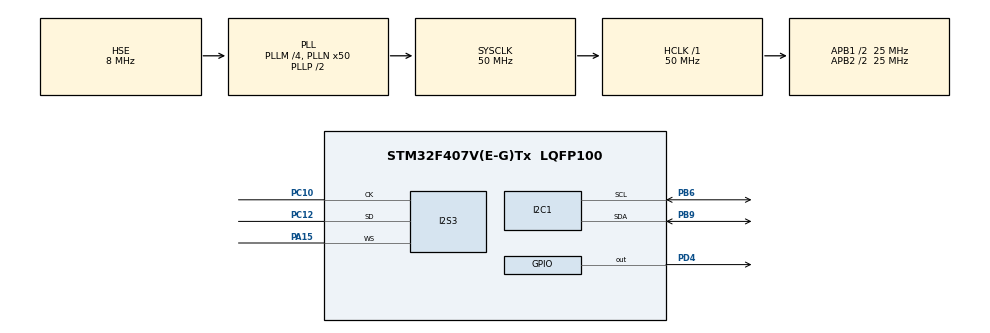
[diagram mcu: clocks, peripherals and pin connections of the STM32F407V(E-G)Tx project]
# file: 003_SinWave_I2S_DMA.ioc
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Dma.Request0=SPI3_TX
Dma.SPI3_TX.0.Direction=DMA_MEMORY_TO_PERIPH
Dma.SPI3_TX.0.FIFOMode=DMA_FIFOMODE_DISABLE
Dma.SPI3_TX.0.Instance=DMA1_Stream5
Dma.SPI3_TX.0.MemDataAlignment=DMA_MDATAALIGN_BYTE
Dma.SPI3_TX.0.MemInc=DMA_MINC_ENABLE
Dma.SPI3_TX.0.Mode=DMA_NORMAL
Dma.SPI3_TX.0.PeriphDataAlignment=DMA_PDATAALIGN_BYTE
Dma.SPI3_TX.0.PeriphInc=DMA_PINC_DISABLE
Dma.SPI3_TX.0.Priority=DMA_PRIORITY_LOW
I2C1.I2C_Mode=I2C_Fast
I2S3.AudioFreq=I2S_AUDIOFREQ_96K
I2S3.ErrorAudioFreq=0.8 %
I2S3.FullDuplexMode=I2S_FULLDUPLEXMODE_DISABLE
I2S3.Instance=SPI$Index
I2S3.RealAudioFreq=96.774 KHz
I2S3.VirtualMode=I2S_MODE_MASTER
Mcu.Family=STM32F4
Mcu.Name=STM32F407V(E-G)Tx
Mcu.Package=LQFP100
NVIC.DMA1_Stream5_IRQn=true\:0\:0\:false\:false\:true\:false\:true\:true
NVIC.PriorityGroup=NVIC_PRIORITYGROUP_0
PA13.Mode=Serial_Wire
PA13.Signal=SYS_JTMS-SWDIO
PA14.Mode=Serial_Wire
PA14.Signal=SYS_JTCK-SWCLK
PA15.Mode=Half_Duplex_Master
PA15.Signal=I2S3_WS
PB6.Mode=I2C
PB6.Signal=I2C1_SCL
PB9.Mode=I2C
PB9.Signal=I2C1_SDA
PC10.Mode=Half_Duplex_Master
PC10.Signal=I2S3_CK
PC12.Mode=Half_Duplex_Master
PC12.Signal=I2S3_SD
PC14-OSC32_IN.Mode=LSE-External-Oscillator
PC14-OSC32_IN.Signal=RCC_OSC32_IN
PC15-OSC32_OUT.Mode=LSE-External-Oscillator
PC15-OSC32_OUT.Signal=RCC_OSC32_OUT
PD4.Signal=GPIO_Output
PH0-OSC_IN.Mode=HSE-External-Oscillator
PH0-OSC_IN.Signal=RCC_OSC_IN
PH1-OSC_OUT.Mode=HSE-External-Oscillator
PH1-OSC_OUT.Signal=RCC_OSC_OUT
ProjectManager.HeapSize=0x200
ProjectManager.StackSize=0x400
ProjectManager.TargetToolchain=STM32CubeIDE
RCC.48MHZClocksFreq_Value=14285714.285714285
RCC.AHBFreq_Value=50000000
RCC.APB1CLKDivider=RCC_HCLK_DIV2
RCC.APB1Freq_Value=25000000
RCC.APB1TimFreq_Value=50000000
RCC.APB2CLKDivider=RCC_HCLK_DIV2
RCC.APB2Freq_Value=25000000
RCC.APB2TimFreq_Value=50000000
RCC.CortexFreq_Value=50000000
RCC.HCLKFreq_Value=50000000
RCC.HSE_VALUE=8000000
RCC.HSI_VALUE=16000000
RCC.PLLI2SN=96
RCC.PLLM=4
RCC.PLLN=50
RCC.PLLQ=7
RCC.PLLSourceVirtual=RCC_PLLSOURCE_HSE
RCC.SYSCLKFreq_VALUE=50000000
RCC.SYSCLKSource=RCC_SYSCLKSOURCE_PLLCLK
RCC.VCOOutputFreq_Value=100000000
board=STM32F407G-DISC1

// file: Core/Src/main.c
/* USER CODE BEGIN Header */
/**
  ******************************************************************************
  * @file           : main.c
  * @brief          : Main program body
  ******************************************************************************
  * @attention
  *
  * Copyright (c) 2025 STMicroelectronics.
  * All rights reserved.
  *
  * This software is licensed under terms that can be found in the LICENSE file
  * in the root directory of this software component.
  * If no LICENSE file comes with this software, it is provided AS-IS.
  *
  ******************************************************************************
  */
/* USER CODE END Header */
#include "main.h"

/* USER CODE BEGIN Includes */
#include "arm_math.h"
#include "math.h"

/* USER CODE END Includes */

/* USER CODE BEGIN PD */
#define TAU 6.28318530717958647692
#define I2S_DMA_BUFFER_SAMPLES 96
#define I2S_DMA_BUFFER_SIZE 2 * 2 * I2S_DMA_BUFFER_SAMPLES // 2 full buffers L+R samples
#define SAMPLE_FREQ 96000
#define OUTPUT_MID 32767 // 2^16 / 2 - 1

#define CS_RST_Pin GPIO_PIN_4
#define CS_RST_GPIO_Port GPIOD
/* USER CODE END PD */

I2C_HandleTypeDef hi2c1;

I2S_HandleTypeDef hi2s3;
DMA_HandleTypeDef hdma_spi3_tx;

/* USER CODE BEGIN PV */
CS43L22_HandleTypeDef cs;

int16_t i2s_dma_buffer[I2S_DMA_BUFFER_SIZE];

float angle[2] = { 0, 0 };

float angle_change[2] = {
        440.0 * (TAU / SAMPLE_FREQ), // left
        880.0 * (TAU / SAMPLE_FREQ)  // right
};

float amplification[2] = {1,1};

uint8_t dma_buffer_processing = 0;
uint32_t dma_overflow = 0;

uint32_t i2c_cb, i2c_hcb;
/* USER CODE END PV */

void SystemClock_Config(void);
static void MX_GPIO_Init(void);
static void MX_DMA_Init(void);
static void MX_I2C1_Init(void);
static void MX_I2S3_Init(void);
/* USER CODE BEGIN PFP */
void process_buffer(int16_t *buffer);
void HAL_I2S_TxCpltCallback(I2S_HandleTypeDef *hi2s);
void HAL_I2S_TxHalfCpltCallback(I2S_HandleTypeDef *hi2s);
/* USER CODE END PFP */

int main(void)
{

  /* MCU Configuration--------------------------------------------------------*/

  /* Reset of all peripherals, Initializes the Flash interface and the Systick. */
  HAL_Init();

  /* Configure the system clock */
  SystemClock_Config();

  /* Initialize all configured peripherals */
  MX_GPIO_Init();
  MX_DMA_Init();
  MX_I2C1_Init();
  MX_I2S3_Init();
  /* USER CODE BEGIN 2 */
  if (cs_init(&cs, &hi2c1, CS43L22_DEFAULT_ADDR, CS_RST_GPIO_Port, CS_RST_Pin)) {
	  printf("Error: cs_init failed\n");
  }

  cs_hp_vol(&cs, 255);

  HAL_I2S_Transmit_DMA(&hi2s3, (uint16_t*) &i2s_dma_buffer, I2S_DMA_BUFFER_SIZE);
  /* USER CODE END 2 */

  /* Infinite loop */
  while (1)
  {

  }
}

void SystemClock_Config(void)
{
  RCC_OscInitTypeDef RCC_OscInitStruct = {0};
  RCC_ClkInitTypeDef RCC_ClkInitStruct = {0};

  /** Configure the main internal regulator output voltage
  */
  __HAL_RCC_PWR_CLK_ENABLE();
  __HAL_PWR_VOLTAGESCALING_CONFIG(PWR_REGULATOR_VOLTAGE_SCALE1);

  /** Initializes the RCC Oscillators according to the specified parameters
  * in the RCC_OscInitTypeDef structure.
  */
  RCC_OscInitStruct.OscillatorType = RCC_OSCILLATORTYPE_HSE;
  RCC_OscInitStruct.HSEState = RCC_HSE_ON;
  RCC_OscInitStruct.PLL.PLLState = RCC_PLL_ON;
  RCC_OscInitStruct.PLL.PLLSource = RCC_PLLSOURCE_HSE;
  RCC_OscInitStruct.PLL.PLLM = 4;
  RCC_OscInitStruct.PLL.PLLN = 50;
  RCC_OscInitStruct.PLL.PLLP = RCC_PLLP_DIV2;
  RCC_OscInitStruct.PLL.PLLQ = 7;
  if (HAL_RCC_OscConfig(&RCC_OscInitStruct) != HAL_OK)
  {
    Error_Handler();
  }

  /** Initializes the CPU, AHB and APB buses clocks
  */
  RCC_ClkInitStruct.ClockType = RCC_CLOCKTYPE_HCLK|RCC_CLOCKTYPE_SYSCLK
                              |RCC_CLOCKTYPE_PCLK1|RCC_CLOCKTYPE_PCLK2;
  RCC_ClkInitStruct.SYSCLKSource = RCC_SYSCLKSOURCE_PLLCLK;
  RCC_ClkInitStruct.AHBCLKDivider = RCC_SYSCLK_DIV1;
  RCC_ClkInitStruct.APB1CLKDivider = RCC_HCLK_DIV2;
  RCC_ClkInitStruct.APB2CLKDivider = RCC_HCLK_DIV2;

  if (HAL_RCC_ClockConfig(&RCC_ClkInitStruct, FLASH_LATENCY_1) != HAL_OK)
  {
    Error_Handler();
  }
}

static void MX_I2C1_Init(void)
{

  hi2c1.Instance = I2C1;
  hi2c1.Init.ClockSpeed = 400000;
  hi2c1.Init.DutyCycle = I2C_DUTYCYCLE_2;
  hi2c1.Init.OwnAddress1 = 0;
  hi2c1.Init.AddressingMode = I2C_ADDRESSINGMODE_7BIT;
  hi2c1.Init.DualAddressMode = I2C_DUALADDRESS_DISABLE;
  hi2c1.Init.OwnAddress2 = 0;
  hi2c1.Init.GeneralCallMode = I2C_GENERALCALL_DISABLE;
  hi2c1.Init.NoStretchMode = I2C_NOSTRETCH_DISABLE;
  if (HAL_I2C_Init(&hi2c1) != HAL_OK)
  {
    Error_Handler();
  }

}

static void MX_I2S3_Init(void)
{

  hi2s3.Instance = SPI3;
  hi2s3.Init.Mode = I2S_MODE_MASTER_TX;
  hi2s3.Init.Standard = I2S_STANDARD_PHILIPS;
  hi2s3.Init.DataFormat = I2S_DATAFORMAT_16B;
  hi2s3.Init.MCLKOutput = I2S_MCLKOUTPUT_DISABLE;
  hi2s3.Init.AudioFreq = I2S_AUDIOFREQ_96K;
  hi2s3.Init.CPOL = I2S_CPOL_LOW;
  hi2s3.Init.ClockSource = I2S_CLOCK_PLL;
  hi2s3.Init.FullDuplexMode = I2S_FULLDUPLEXMODE_DISABLE;
  if (HAL_I2S_Init(&hi2s3) != HAL_OK)
  {
    Error_Handler();
  }

}

static void MX_DMA_Init(void)
{

  /* DMA controller clock enable */
  __HAL_RCC_DMA1_CLK_ENABLE();

  /* DMA interrupt init */
  /* DMA1_Stream5_IRQn interrupt configuration */
  HAL_NVIC_SetPriority(DMA1_Stream5_IRQn, 0, 0);
  HAL_NVIC_EnableIRQ(DMA1_Stream5_IRQn);

}

static void MX_GPIO_Init(void)
{
  GPIO_InitTypeDef GPIO_InitStruct = {0};

  /* GPIO Ports Clock Enable */
  __HAL_RCC_GPIOC_CLK_ENABLE();
  __HAL_RCC_GPIOH_CLK_ENABLE();
  __HAL_RCC_GPIOA_CLK_ENABLE();
  __HAL_RCC_GPIOD_CLK_ENABLE();
  __HAL_RCC_GPIOB_CLK_ENABLE();

  /*Configure GPIO pin Output Level */
  HAL_GPIO_WritePin(GPIOD, GPIO_PIN_4, GPIO_PIN_RESET);

  /*Configure GPIO pin : PD4 */
  GPIO_InitStruct.Pin = GPIO_PIN_4;
  GPIO_InitStruct.Mode = GPIO_MODE_OUTPUT_PP;
  GPIO_InitStruct.Pull = GPIO_NOPULL;
  GPIO_InitStruct.Speed = GPIO_SPEED_FREQ_LOW;
  HAL_GPIO_Init(GPIOD, &GPIO_InitStruct);

}

/* USER CODE BEGIN 4 */
void HAL_I2S_TxCpltCallback(I2S_HandleTypeDef *hi2s) {
    if (dma_buffer_processing) {
        ++dma_overflow; // Still processing previous buffer
    } else {
        process_buffer(&i2s_dma_buffer[2 * I2S_DMA_BUFFER_SAMPLES]); // Second half
        ++i2c_cb;
    }
}

void HAL_I2S_TxHalfCpltCallback(I2S_HandleTypeDef *hi2s) {
    if (dma_buffer_processing) {
        ++dma_overflow; // Still processing previous buffer
    } else {
        process_buffer(&i2s_dma_buffer[0]);
        ++i2c_hcb;
    }
}

void process_buffer(int16_t *buffer) {

    dma_buffer_processing = 1;

    for (int i = 0; i < I2S_DMA_BUFFER_SAMPLES; ++i) { // Two samples left/right per step

        buffer[i * 2] = OUTPUT_MID * amplification[0] * arm_sin_f32(angle[0]);      // Left
        buffer[i * 2 + 1] = OUTPUT_MID * amplification[1] * arm_sin_f32(angle[1]);  // Right

        angle[0] += angle_change[0];
        angle[1] += angle_change[1];

        if (angle[0] > TAU)
            angle[0] -= TAU;
        if (angle[1] > TAU)
            angle[1] -= TAU;
    }
    dma_buffer_processing = 0;
}
/* USER CODE END 4 */

void Error_Handler(void)
{
  __disable_irq();
  while (1)
  {
  }
}
